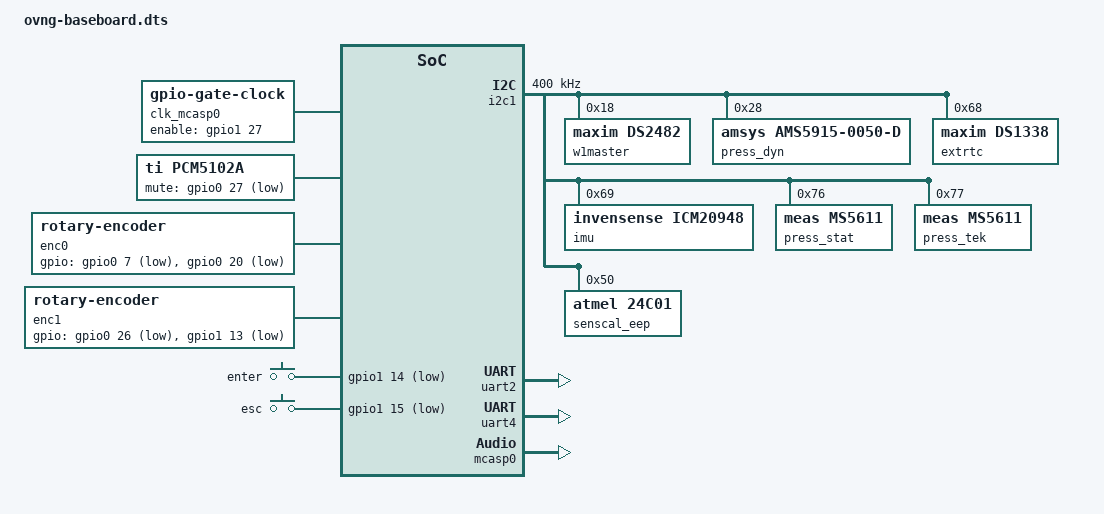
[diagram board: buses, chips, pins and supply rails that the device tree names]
/dts-v1/;
/plugin/;

#include <dt-bindings/board/am335x-bbw-bbb-base.h>
#include <dt-bindings/pinctrl/am33xx.h>

/ {
	compatible = "ti,beaglebone", "ti,beaglebone-black", "ti,beaglebone-green", "ti,beaglebone-green-wireless";

	// identification
	part-number = "BB-OVNG-BASEBOARD";
	version = "00A0";

	// resources this cape uses
	exclusive-use =
		"P9.18",	// i2c1_sda
		"P9.17",	// i2c1_scl
		"P9.21",	// uart2_txd
		"P9.22",	// uart2_rxd
		"P9.13",	// uart4_txd
		"P9.11",	// uart4_rxd

		"P9.42",	// enc0: gpio0_7 A
		"P9.41",	// enc0: gpio0_20 B
		"P8.16",	// enc0: gpio1_14 BUTTON

		"P8.14",	// enc1: gpio0_26 A
		"P8.11",	// enc1: gpio1_13 B
		"P8.15",	// enc1: gpio1_15 BUTTON

		"P9.31",	// audio: mcasp0_aclkx
		"P9.29",	// audio: mcasp0_fsx
		"P9.28",	// audio: mcasp0_axr2
		"P9.25",	// audio: mcasp0_ahclkx
		"P8.17",	// audio: gpio0_27 mute

		"i2c1",		// hardware ip used
		"uart2",
		"uart4",
		"mcasp0",
		"gpio0_7",	// enc0: gpio0_7 A
		"gpio3_18",
		"gpio0_20",	// enc0: gpio0_20 B
		"gpio3_20",
		"gpio1_14",	// enc0: gpio1_14 BTN
		"gpio0_26",	// enc1: gpio0_26 A
		"gpio1_13",	// enc1: gpio1_13 B
		"gpio1_15",	// enc1: gpio1_15 BTN
		"gpio0_27";	// audio: gpio0_27 mute



	fragment@0 {
		target-path="/";
		__overlay__ {
			aliases {
				rtc0 = &extrtc;
				/* The OMAP RTC implementation in the BBB is
				 * buggy, so that it cannot be used as a
				 * battery-backed RTS, so that it loses its
				 * contents when power is removed from the
				 * Beaglebone...
				 *
				 * We move the omap built-in RTC to rtc1, so
				 * that userspace defaults to using the DS1338.
				 *
				 * The omap RTC must remain enabled because it
				 * is also used during the reboot process on the
				 * BBB.
				 */
				rtc1 = "/ocp/rtc@44e3e000";
			};


			clk_mcasp0_fixed: clk_mcasp0_fixed {
				#clock-cells = <0>;
				compatible = "fixed-clock";
				clock-frequency = <24576000>;
			};

			clk_mcasp0: clk_mcasp0 {
				#clock-cells = <0>;
				compatible = "gpio-gate-clock";
				clocks = <&clk_mcasp0_fixed>;
				enable-gpios = <&gpio1 27 0>; // BeagleBone Black Clk enable on GPIO1_27
			};

			pcm5102a: pcm5102a {
				pinctrl-names = "default";
				pinctrl-0 = <&dac_pins>;
				#sound-dai-cells = <0>;
				compatible = "ti,pcm5102a";
				mute-gpios = <&gpio0 27 1>;
			};

			sound {
				compatible = "simple-audio-card";
				simple-audio-card,name = "OpenVarioNG PCM Audio";
				simple-audio-card,format = "i2s";
				simple-audio-card,bitclock-master = <&sound_master>;
				simple-audio-card,frame-master = <&sound_master>;

				sound_master: simple-audio-card,cpu {
					sound-dai = <&mcasp0>;
					clocks = <&clk_mcasp0>;
				};

				simple-audio-card,codec {
					sound-dai = <&pcm5102a>;
				};
			};

			enc0 {
				pinctrl-names = "default";
				pinctrl-0 = <&enc0_pins>;
				compatible = "rotary-encoder";
				gpios = <&gpio0 7 1>, <&gpio0 20 1>;
				rotary-encoder,encoding = "gray";
				linux,keycodes = <108>, <103>; // DOWN/UP
			};

			enc1 {
				pinctrl-names = "default";
				pinctrl-0 = <&enc1_pins>;
				compatible = "rotary-encoder";
				gpios = <&gpio0 26 1>, <&gpio1 13 1>;
				rotary-encoder,encoding = "gray";
				linux,keycodes = <106>, <105>; // RIGHT/LEFT
			};

			enc_btn {
				compatible = "gpio-keys";
				pinctrl-names = "default";
				pinctrl-0 = <&enc_btn_pins>;

				enc0_btn {
					debounce_interval = <50>;
					linux,code = <28>;
					label = "enter";
					gpios = <&gpio1 14 1>;
				};

				enc1_btn {
					debounce_interval = <50>;
					linux,code = <1>;
					label = "esc";
					gpios = <&gpio1 15 1>;
				};
			};
		};
	};

	/*
	 * Free up the pins used by the cape from the pinmux helpers.
	 */
	fragment@1 {
		target = <&ocp>;
		__overlay__ {
			P9_17_pinmux { status = "disabled"; };	// i2c1_scl
			P9_18_pinmux { status = "disabled"; };	// i2c1_sda

			P9_21_pinmux { status = "disabled"; };	// P9_21: spi0_d0.uart2_txd
			P9_22_pinmux { status = "disabled"; };	// P9_22: spi0_sclk.uart2_rxd

			P9_13_pinmux { status = "disabled"; };	// uart4_txd
			P9_11_pinmux { status = "disabled"; };	// uart4_rxd

			P9_42_pinmux { status = "disabled"; };	// enc0: gpio0_7 A
			P9_92_pinmux { status = "disabled"; };
			P9_41_pinmux { status = "disabled"; };	// enc0: gpio0_20 B
			P9_91_pinmux { status = "disabled"; };
			P8_16_pinmux { status = "disabled"; };	// enc0: gpio1_14 BTN

			P8_14_pinmux { status = "disabled"; };	// enc1: gpio0_26 A
			P8_11_pinmux { status = "disabled"; };	// enc1: gpio1_13 B
			P8_15_pinmux { status = "disabled"; };	// enc1: gpio1_15 BTN

			P9_25_pinmux { status = "disabled"; };	// audio: mcasp0_aclkx
			P9_28_pinmux { status = "disabled"; };	// audio: mcasp0_fsx
			P9_29_pinmux { status = "disabled"; };	// audio: mcasp0_axr2
			P9_31_pinmux { status = "disabled"; };	// audio: mcasp0_ahclkx

			P8_17_pinmux { status = "disabled"; };	// audio: gpio0_27 mute
		};
	};

	fragment@2 {
		target = <&am33xx_pinmux>;
		__overlay__ {
			bb_i2c1_pins: pinmux_bb_i2c1_pins {
				pinctrl-single,pins = <
					BONE_P9_18 (SLEWCTRL_SLOW | PIN_INPUT_PULLUP | MUX_MODE2)	// spi0_d1.i2c1_sda
					BONE_P9_17 (SLEWCTRL_SLOW | PIN_INPUT_PULLUP | MUX_MODE2)	// spi0_cs0.i2c1_scl
				>;
			};

			bb_uart2_pins: pinmux_bb_uart2_pins {
				pinctrl-single,pins = <
					BONE_P9_21 (PIN_OUTPUT | MUX_MODE1)	// P9_21: spi0_d0.uart2_txd
					BONE_P9_22 (PIN_INPUT  | MUX_MODE1)	// P9_22: spi0_sclk.uart2_rxd
				>;
			};

			bb_uart4_pins: pinmux_bb_uart4_pins {
				pinctrl-single,pins = <
					BONE_P9_13 (PIN_OUTPUT | MUX_MODE6)	// gpmc_wpn.uart4_txd_mux2
					BONE_P9_11 (PIN_INPUT  | MUX_MODE6)	// gpmc_wait0.uart4_rxd_mux2
				>;
			};

			enc0_pins: enc0_pins {
				pinctrl-single,pins = <
					BONE_P9_42 (PIN_INPUT_PULLUP | MUX_MODE7)	// enc0: gpio0_7 A
					BONE_P9_41 (PIN_INPUT_PULLUP | MUX_MODE7)	// enc0: gpio0_20 B
				>;
			};

			enc1_pins: enc1_pins {
				pinctrl-single,pins = <
					BONE_P8_14 (PIN_INPUT_PULLUP | MUX_MODE7)	// enc1: gpio0_26 A
					BONE_P8_11 (PIN_INPUT_PULLUP | MUX_MODE7)	// enc1: gpio1_13 B
				>;
			};

			enc_btn_pins: enc_btn_pins {
				pinctrl-single,pins = <
					BONE_P8_16 (PIN_INPUT_PULLUP | MUX_MODE7)	// enc0: gpio1_14 BTN
					BONE_P8_15 (PIN_INPUT_PULLUP | MUX_MODE7)	// enc1: gpio1_15 BTN
				>;
			};

			mcasp0_pins: mcasp0_pins {
				pinctrl-single,pins = <
					BONE_P9_25 (PIN_INPUT_PULLUP | MUX_MODE0)	// P9_25: mcasp0_ahcklx.mcasp0_ahclkx
					BONE_P9_28 (PIN_OUTPUT_PULLDOWN | MUX_MODE2)	// P9_28: mcasp0_ahclkr.mcasp0_axr2
					BONE_P9_29 (PIN_OUTPUT_PULLUP | MUX_MODE0)	// P9_29: mcasp0_fsx.mcasp0_fsx
					BONE_P9_31 (PIN_OUTPUT_PULLDOWN | MUX_MODE0)	// P9_31: mcasp0_aclkx.mcasp0_aclkx
				>;
			};

			dac_pins: dac_pins {
				pinctrl-single,pins = <
					BONE_P8_17 (PIN_OUTPUT_PULLDOWN | MUX_MODE7)	// mcasp0: gpio0_27 ena
				>;
			};

		};
	};

	fragment@3 {
		target = <&i2c1>;
		__overlay__ {
			status = "okay";
			pinctrl-names = "default";
			pinctrl-0 = <&bb_i2c1_pins>;

			// this is the configuration part
			clock-frequency = <400000>;

			#address-cells = <1>;
			#size-cells = <0>;

			w1master: w1master@18 {
				compatible = "maxim,ds2482";
				reg = <0x18>;
			};

			press_dyn: press_dyn@28 {
				compatible = "amsys,ams5915-0050-d";
				reg = <0x28>;
			};

			extrtc: extrtc@68 {
				compatible = "maxim,ds1338";
				reg = <0x68>;
			};

			imu: imu@69 {
				compatible = "invensense,icm20948";
				reg = <0x69>;
				mount-matrix =
					"1.0", "0.0", "0.0",
					"0.0", "1.0", "0.0",
					"0.0", "0.0", "1.0";
			};

			press_stat: press_stat@76 {
				compatible = "meas,ms5611";
				reg = <0x76>;
			};

			press_tek: press_tek@77 {
				compatible = "meas,ms5611";
				reg = <0x77>;
			};

			senscal_eep: senscal_eep@50 {
				compatible = "atmel,24c01";
				pagesize = <8>;
				reg = <0x50>;
			};

		};
	};

	fragment@4 {
		target = <&uart2>;
		__overlay__ {
			status = "okay";
			pinctrl-names = "default";
			pinctrl-0 = <&bb_uart2_pins>;
		};
	};

	fragment@5 {
		target = <&uart4>;
		__overlay__ {
			status = "okay";
			pinctrl-names = "default";
			pinctrl-0 = <&bb_uart4_pins>;
		};
	};

	fragment@6 {
		target = <&mcasp0>;
		__overlay__ {
			#sound-dai-cells = <0>;
			pinctrl-names = "default";
			pinctrl-0 = <&mcasp0_pins>;
			status = "okay";
			op-mode = <0>;	// MCASP_IIS_MODE
			tdm-slots = <2>;
			serial-dir = <0 0 1 0>;	// 0: INACTIVE, 1: TX, 2: RX
			tx-num-evt = <32>;
			rx-num-evt = <32>;
		};
	};
};

